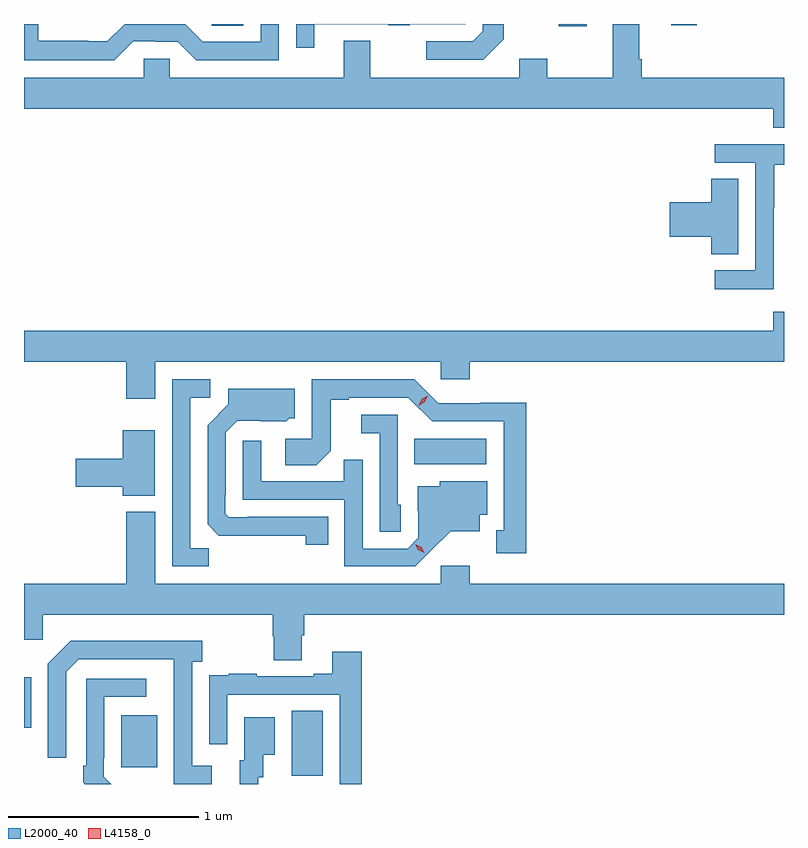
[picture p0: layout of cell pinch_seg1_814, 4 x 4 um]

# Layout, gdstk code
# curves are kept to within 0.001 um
import gdstk
lib = gdstk.Library(unit=1e-6, precision=1e-09)
def R(c, l, rs):  # rectangles x0, y0, x1, y1
    for r in rs: c.add(gdstk.rectangle(r[:2], r[2:], *l))
def P(c, l, *ps):  # polygons
    for p in ps: c.add(gdstk.Polygon(p, *l))
L2000_40 = (2000, 40)
L4158_0 = (4158, 0)

pinch_seg1_814 = lib.new_cell('pinch_seg1_814')
R(pinch_seg1_814, L2000_40, [(481.49,569.533,481.654,569.876), (480.593,569.577,480.781,569.851), (480.081,569.786,480.118,570.051), (482.134,571.172,482.515,571.306), (482.895,573.477,483.043,573.49), (481.068,573.481,481.236,573.49), (483.488,573.483,483.623,573.49)])
P(pinch_seg1_814, L2000_40, [(484.081,573.208),(483.332,573.208),(483.332,573.304),(483.319,573.304),(483.319,573.49),(483.179,573.49),(483.179,573.208),(482.835,573.208),(482.835,573.307),(482.687,573.307),(482.687,573.208),(481.903,573.208),(481.903,573.403),(481.763,573.403),(481.763,573.208),(480.849,573.208),(480.849,573.306),(480.711,573.306),(480.711,573.208),(480.081,573.208),(480.081,573.044),(484.025,573.044),(484.025,572.945),(484.081,572.945)],
  [(480.657,573.399),(480.773,573.399),(480.773,573.396),(480.891,573.396),(480.987,573.3),(481.422,573.3),(481.422,573.49),(481.326,573.49),(481.326,573.396),(481.023,573.396),(480.929,573.49),(480.61,573.49),(480.519,573.399),(480.419,573.399),(480.419,573.403),(480.156,573.403),(480.156,573.49),(480.081,573.49),(480.081,573.299),(480.557,573.299)],
  [(482.605,573.409),(482.605,573.49),(482.496,573.49),(482.496,573.453),(482.442,573.399),(482.199,573.399),(482.199,573.303),(482.499,573.303)],
  [(481.609,573.489),(481.999,573.489),(481.999,573.484),(482.111,573.484),(482.111,573.489),(482.406,573.489),(482.406,573.49),(481.513,573.49),(481.513,573.366),(481.609,573.366)],
  [(484.026,572.524),(484.029,572.524),(484.029,572.748),(484.081,572.748),(484.081,572.856),(483.717,572.856),(483.717,572.76),(483.93,572.76),(483.93,572.193),(483.717,572.193),(483.717,572.095),(484.026,572.095)],
  [(483.841,572.675),(483.698,572.675),(483.698,572.552),(483.48,572.552),(483.48,572.369),(483.698,572.369),(483.698,572.278),(483.841,572.278)],
  [(480.772,571.712),(482.274,571.712),(482.274,571.619),(482.426,571.619),(482.426,571.712),(484.081,571.712),(484.081,571.975),(484.025,571.975),(484.025,571.876),(480.081,571.876),(480.081,571.712),(480.62,571.712),(480.62,571.518),(480.772,571.518)],
  [(481.053,570.731),(480.957,570.731),(480.957,571.524),(481.06,571.524),(481.06,571.62),(480.861,571.62),(480.861,570.636),(481.053,570.636)],
  [(482.725,571.496),(482.484,571.496),(482.484,571.494),(482.262,571.494),(482.136,571.62),(481.596,571.62),(481.596,571.308),(481.455,571.308),(481.455,571.168),(481.619,571.168),(481.695,571.244),(481.695,571.512),(481.789,571.512),(481.789,571.524),(482.103,571.524),(482.229,571.398),(482.606,571.398),(482.606,570.825),(482.567,570.825),(482.567,570.705),(482.725,570.705)],
  [(481.682,570.897),(481.258,570.897),(481.258,570.894),(481.158,570.894),(481.14,570.912),(481.14,571.012),(481.143,571.012),(481.143,571.341),(481.203,571.401),(481.46,571.4),(481.476,571.416),(481.507,571.416),(481.507,571.57),(481.157,571.57),(481.157,571.488),(481.047,571.378),(481.047,570.856),(481.106,570.797),(481.564,570.796),(481.564,570.75),(481.682,570.75)],
  [(482.064,570.96),(482.049,570.96),(482.049,571.434),(481.857,571.434),(481.857,571.337),(481.953,571.337),(481.953,570.817),(482.064,570.817)],
  [(480.769,571.351),(480.602,571.351),(480.602,571.202),(480.354,571.202),(480.354,571.055),(480.602,571.055),(480.602,571.007),(480.769,571.007)],
  [(482.224,570.719),(482.327,570.821),(482.479,570.821),(482.479,570.908),(482.518,570.908),(482.518,571.084),(482.268,571.084),(482.268,571.057),(482.153,571.057),(482.153,570.928),(482.157,570.928),(482.157,570.786),(482.1,570.729),(481.863,570.729),(481.863,571.196),(481.765,571.196),(481.765,571.083),(481.329,571.083),(481.329,571.297),(481.233,571.297),(481.233,570.987),(481.767,570.987),(481.767,570.636),(482.14,570.636)],
  [(481.543,570.274),(481.556,570.274),(481.556,570.38),(484.081,570.38),(484.081,570.544),(482.426,570.544),(482.426,570.64),(482.274,570.64),(482.274,570.544),(480.772,570.544),(480.772,570.922),(480.62,570.922),(480.62,570.544),(480.081,570.544),(480.081,570.249),(480.18,570.249),(480.18,570.38),(481.391,570.38),(481.391,570.267),(481.396,570.267),(481.396,570.142),(481.543,570.142)],
  [(481.069,569.586),(480.966,569.586),(480.966,570.134),(481.018,570.134),(481.018,570.244),(480.328,570.244),(480.207,570.123),(480.207,569.628),(480.303,569.628),(480.303,570.081),(480.369,570.147),(480.869,570.147),(480.87,569.49),(481.069,569.49)],
  [(481.859,570.187),(481.703,570.187),(481.703,570.07),(481.607,570.07),(481.607,570.057),(481.307,570.057),(481.307,570.07),(481.159,570.07),(481.159,570.063),(481.057,570.063),(481.057,569.954),(481.056,569.954),(481.056,569.7),(481.152,569.7),(481.152,569.961),(481.743,569.961),(481.743,569.49),(481.859,569.49)],
  [(480.501,569.529),(480.501,569.629),(480.504,569.629),(480.504,569.949),(480.724,569.949),(480.724,570.045),(480.408,570.045),(480.408,569.587),(480.393,569.587),(480.393,569.499),(480.402,569.49),(480.54,569.49)],
  [(481.314,569.526),(481.339,569.526),(481.339,569.645),(481.402,569.645),(481.402,569.842),(481.241,569.842),(481.241,569.616),(481.217,569.616),(481.217,569.49),(481.314,569.49)])
P(pinch_seg1_814, L4158_0, [(482.188,570.707),(482.157,570.722),(482.14,570.752),(482.14,570.752),(482.14,570.752),(482.171,570.737),(482.188,570.707),(482.188,570.707)],
  [(482.158,571.482),(482.158,571.482),(482.175,571.515),(482.207,571.534),(482.207,571.534),(482.207,571.534),(482.19,571.502),(482.159,571.482)])

lib.write_gds('pinch_seg1_814.gds')
